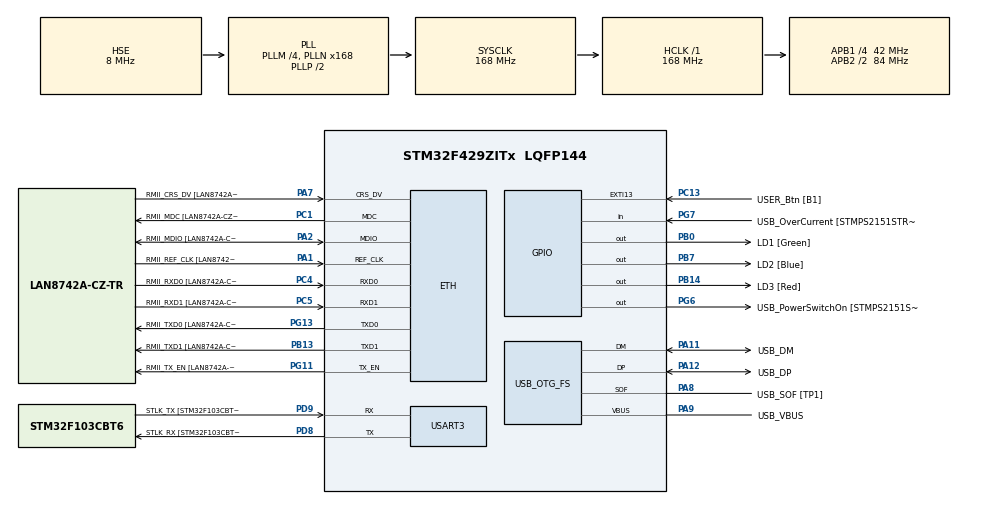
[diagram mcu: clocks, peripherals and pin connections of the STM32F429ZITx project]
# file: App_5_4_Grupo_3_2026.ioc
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ETH.MediaInterface=HAL_ETH_RMII_MODE
ETH.PHY_Name=LAN8742A_PHY_ADDRESS
ETH.PHY_Value=0
ETH.PhyAddress=0
Mcu.Family=STM32F4
Mcu.Name=STM32F429ZITx
Mcu.Package=LQFP144
NVIC.PriorityGroup=NVIC_PRIORITYGROUP_4
PA1.GPIO_Label=RMII_REF_CLK [LAN8742A-CZ-TR_REFCLK0]
PA1.Mode=RMII
PA1.Signal=ETH_REF_CLK
PA10.GPIO_Label=USB_ID
PA10.Signal=USB_OTG_FS_ID
PA11.GPIO_Label=USB_DM
PA11.Mode=Device_Only
PA11.Signal=USB_OTG_FS_DM
PA12.GPIO_Label=USB_DP
PA12.Mode=Device_Only
PA12.Signal=USB_OTG_FS_DP
PA13.GPIO_Label=TMS
PA13.Mode=Serial_Wire
PA13.Signal=SYS_JTMS-SWDIO
PA14.GPIO_Label=TCK
PA14.Mode=Serial_Wire
PA14.Signal=SYS_JTCK-SWCLK
PA2.GPIO_Label=RMII_MDIO [LAN8742A-CZ-TR_MDIO]
PA2.Mode=RMII
PA2.Signal=ETH_MDIO
PA7.GPIO_Label=RMII_CRS_DV [LAN8742A-CZ-TR_CRS_DV]
PA7.Mode=RMII
PA7.Signal=ETH_CRS_DV
PA8.GPIO_Label=USB_SOF [TP1]
PA8.Mode=Activate_SOF_FS
PA8.Signal=USB_OTG_FS_SOF
PA9.GPIO_Label=USB_VBUS
PA9.Mode=Activate_VBUS
PA9.Signal=USB_OTG_FS_VBUS
PB0.GPIO_Label=LD1 [Green]
PB0.Signal=GPIO_Output
PB13.GPIO_Label=RMII_TXD1 [LAN8742A-CZ-TR_TXD1]
PB13.Mode=RMII
PB13.Signal=ETH_TXD1
PB14.GPIO_Label=LD3 [Red]
PB14.Signal=GPIO_Output
PB7.GPIO_Label=LD2 [Blue]
PB7.Signal=GPIO_Output
PC1.GPIO_Label=RMII_MDC [LAN8742A-CZ-TR_MDC]
PC1.Mode=RMII
PC1.Signal=ETH_MDC
PC13.GPIO_Label=USER_Btn [B1]
PC13.Signal=GPXTI13
PC14/OSC32_IN.Mode=LSE-External-Oscillator
PC14/OSC32_IN.Signal=RCC_OSC32_IN
PC15/OSC32_OUT.Mode=LSE-External-Oscillator
PC15/OSC32_OUT.Signal=RCC_OSC32_OUT
PC4.GPIO_Label=RMII_RXD0 [LAN8742A-CZ-TR_RXD0]
PC4.Mode=RMII
PC4.Signal=ETH_RXD0
PC5.GPIO_Label=RMII_RXD1 [LAN8742A-CZ-TR_RXD1]
PC5.Mode=RMII
PC5.Signal=ETH_RXD1
PD8.GPIO_Label=STLK_RX [STM32F103CBT6_PA3]
PD8.Mode=Asynchronous
PD8.Signal=USART3_TX
PD9.GPIO_Label=STLK_TX [STM32F103CBT6_PA2]
PD9.Mode=Asynchronous
PD9.Signal=USART3_RX
PG11.GPIO_Label=RMII_TX_EN [LAN8742A-CZ-TR_TXEN]
PG11.Mode=RMII
PG11.Signal=ETH_TX_EN
PG13.GPIO_Label=RMII_TXD0 [LAN8742A-CZ-TR_TXD0]
PG13.Mode=RMII
PG13.Signal=ETH_TXD0
PG6.GPIO_Label=USB_PowerSwitchOn [STMPS2151STR_EN]
PG6.Signal=GPIO_Output
PG7.GPIO_Label=USB_OverCurrent [STMPS2151STR_FAULT]
PG7.Signal=GPIO_Input
PH0/OSC_IN.GPIO_Label=MCO [STM32F103CBT6_PA8]
PH0/OSC_IN.Mode=HSE-External-Clock-Source
PH0/OSC_IN.Signal=RCC_OSC_IN
PH1/OSC_OUT.Mode=HSE-External-Clock-Source
PH1/OSC_OUT.Signal=RCC_OSC_OUT
ProjectManager.HeapSize=0x200
ProjectManager.StackSize=0x400
ProjectManager.TargetToolchain=STM32CubeIDE
RCC.48MHZClocksFreq_Value=48000000
RCC.AHBFreq_Value=168000000
RCC.APB1CLKDivider=RCC_HCLK_DIV4
RCC.APB1Freq_Value=42000000
RCC.APB1TimFreq_Value=84000000
RCC.APB2CLKDivider=RCC_HCLK_DIV2
RCC.APB2Freq_Value=84000000
RCC.APB2TimCLKDivider=2
RCC.APB2TimFreq_Value=168000000
RCC.CortexFreq_Value=168000000
RCC.HCLKFreq_Value=168000000
RCC.HSE_VALUE=8000000
RCC.HSI_VALUE=16000000
RCC.PLLM=4
RCC.PLLMUL=RCC_PLL_MUL9
RCC.PLLN=168
RCC.PLLQ=7
RCC.PRESCALERUSB=RCC_USBCLKSOURCE_PLL_DIV1_5
RCC.SYSCLKFreq_VALUE=168000000
RCC.SYSCLKSource=RCC_SYSCLKSOURCE_PLLCLK
RCC.SYSCLKSourceVirtual=RCC_SYSCLKSOURCE_PLLCLK
RCC.USBFreq_Value=48000000
RCC.VCOOutputFreq_Value=336000000
USART3.VirtualMode=VM_ASYNC
USB_OTG_FS.VirtualMode=Device_Only
board=NUCLEO-F429ZI

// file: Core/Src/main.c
/* USER CODE BEGIN Header */
/**
  ******************************************************************************
  * @file           : main.c
  * @brief          : Main program body
  ******************************************************************************
  * App_5_4_Grupo_3_2026 - AFP5 - Antirrebote por MEF (API_debounce)
  *
  * Aplicacion (refactor de App_4_4 con driver de antirrebote): los tres leds
  * onboard parpadean simultaneamente. El pulsador de usuario cambia la
  * frecuencia de parpadeo de manera secuencial entre cuatro tiempos de
  * alternancia: 100 ms -> 250 ms -> 500 ms -> 1000 ms -> vuelve a 100 ms.
  * El cambio se produce por pulsacion validada por la maquina de estados de
  * API_debounce (40 ms de antirrebote) y modifica la duracion del retardo con
  * delayWrite() sin reiniciar el driver.
  * Se usan los tres drivers apilados: API_debounce -> API_delay -> API_GPIO.
  ******************************************************************************
  * @attention
  *
  * Copyright (c) 2026 STMicroelectronics.
  * All rights reserved.
  *
  * This software is licensed under terms that can be found in the LICENSE file
  * in the root directory of this software component.
  * If no LICENSE file comes with this software, it is provided AS-IS.
  *
  ******************************************************************************
  */
/* USER CODE END Header */
#include "main.h"
#include "string.h"
#include "API_GPIO.h"
#include "API_delay.h"
#include "API_debounce.h"

/* USER CODE BEGIN PD */
#define LED_COUNT		3		/* Cantidad de leds del vector */
#define TIEMPO_COUNT	4		/* Cantidad de tiempos de alternancia predefinidos */
/* USER CODE END PD */

ETH_TxPacketConfig TxConfig;
ETH_DMADescTypeDef  DMARxDscrTab[ETH_RX_DESC_CNT]; /* Ethernet Rx DMA Descriptors */
ETH_DMADescTypeDef  DMATxDscrTab[ETH_TX_DESC_CNT]; /* Ethernet Tx DMA Descriptors */

ETH_HandleTypeDef heth;

UART_HandleTypeDef huart3;

PCD_HandleTypeDef hpcd_USB_OTG_FS;

/* USER CODE BEGIN PV */
/* Vector de leds de la placa: con este formato la app queda general y puede
 * extenderse a mas leds con minimas modificaciones (solo agregar elementos) */
led_t leds[LED_COUNT] = {
	{LD1_GPIO_Port, LD1_Pin},
	{LD2_GPIO_Port, LD2_Pin},
	{LD3_GPIO_Port, LD3_Pin}
};

const button_t userButton = {USER_Btn_GPIO_Port, USER_Btn_Pin};

/* Tiempos de alternancia predefinidos [ms]: la aplicacion inicia en tiempo 1 */
const tick_t tiempos[TIEMPO_COUNT] = {100, 250, 500, 1000};

delay_t delayParpadeo;		/* Retardo no bloqueante del parpadeo */
uint8_t idxTiempo = 0;		/* Indice del tiempo de alternancia activo */
/* USER CODE END PV */

void SystemClock_Config(void);
/* El prototipo de MX_GPIO_Init() paso al driver: ver API_GPIO.h */
static void MX_ETH_Init(void);
static void MX_USART3_UART_Init(void);
static void MX_USB_OTG_FS_PCD_Init(void);

int main(void)
{

  /* MCU Configuration--------------------------------------------------------*/

  /* Reset of all peripherals, Initializes the Flash interface and the Systick. */
  HAL_Init();

  /* Configure the system clock */
  SystemClock_Config();

  /* Initialize all configured peripherals */
  MX_GPIO_Init();
  MX_ETH_Init();
  MX_USART3_UART_Init();
  MX_USB_OTG_FS_PCD_Init();
  /* USER CODE BEGIN 2 */
  delayInit(&delayParpadeo, tiempos[0]);
  debounceFSM_init();
  /* USER CODE END 2 */

  /* Infinite loop */
  /* USER CODE BEGIN WHILE */
  while (1)
  {
	  /* La MEF filtra el rebote y dispara buttonPressed() en cada pulsacion */
	  debounceFSM_update(readButton_GPIO(userButton));

	  /* Cuando el retardo se cumple, los 3 leds cambian de estado juntos */
	  if (delayRead(&delayParpadeo))
	  {
		  for (uint8_t i = 0; i < LED_COUNT; i++)
		  {
			  toggleLed_GPIO(leds[i]);
		  }
	  }
    /* USER CODE END WHILE */

  }
}

void SystemClock_Config(void)
{
  RCC_OscInitTypeDef RCC_OscInitStruct = {0};
  RCC_ClkInitTypeDef RCC_ClkInitStruct = {0};

  /** Configure the main internal regulator output voltage
  */
  __HAL_RCC_PWR_CLK_ENABLE();
  __HAL_PWR_VOLTAGESCALING_CONFIG(PWR_REGULATOR_VOLTAGE_SCALE1);

  /** Initializes the RCC Oscillators according to the specified parameters
  * in the RCC_OscInitTypeDef structure.
  */
  RCC_OscInitStruct.OscillatorType = RCC_OSCILLATORTYPE_HSE;
  RCC_OscInitStruct.HSEState = RCC_HSE_BYPASS;
  RCC_OscInitStruct.PLL.PLLState = RCC_PLL_ON;
  RCC_OscInitStruct.PLL.PLLSource = RCC_PLLSOURCE_HSE;
  RCC_OscInitStruct.PLL.PLLM = 4;
  RCC_OscInitStruct.PLL.PLLN = 168;
  RCC_OscInitStruct.PLL.PLLP = RCC_PLLP_DIV2;
  RCC_OscInitStruct.PLL.PLLQ = 7;
  if (HAL_RCC_OscConfig(&RCC_OscInitStruct) != HAL_OK)
  {
    Error_Handler();
  }

  /** Initializes the CPU, AHB and APB buses clocks
  */
  RCC_ClkInitStruct.ClockType = RCC_CLOCKTYPE_HCLK|RCC_CLOCKTYPE_SYSCLK
                              |RCC_CLOCKTYPE_PCLK1|RCC_CLOCKTYPE_PCLK2;
  RCC_ClkInitStruct.SYSCLKSource = RCC_SYSCLKSOURCE_PLLCLK;
  RCC_ClkInitStruct.AHBCLKDivider = RCC_SYSCLK_DIV1;
  RCC_ClkInitStruct.APB1CLKDivider = RCC_HCLK_DIV4;
  RCC_ClkInitStruct.APB2CLKDivider = RCC_HCLK_DIV2;

  if (HAL_RCC_ClockConfig(&RCC_ClkInitStruct, FLASH_LATENCY_5) != HAL_OK)
  {
    Error_Handler();
  }
}

static void MX_ETH_Init(void)
{

   static uint8_t MACAddr[6];

  heth.Instance = ETH;
  MACAddr[0] = 0x00;
  MACAddr[1] = 0x80;
  MACAddr[2] = 0xE1;
  MACAddr[3] = 0x00;
  MACAddr[4] = 0x00;
  MACAddr[5] = 0x00;
  heth.Init.MACAddr = &MACAddr[0];
  heth.Init.MediaInterface = HAL_ETH_RMII_MODE;
  heth.Init.TxDesc = DMATxDscrTab;
  heth.Init.RxDesc = DMARxDscrTab;
  heth.Init.RxBuffLen = 1524;

  if (HAL_ETH_Init(&heth) != HAL_OK)
  {
    Error_Handler();
  }

  memset(&TxConfig, 0 , sizeof(ETH_TxPacketConfig));
  TxConfig.Attributes = ETH_TX_PACKETS_FEATURES_CSUM | ETH_TX_PACKETS_FEATURES_CRCPAD;
  TxConfig.ChecksumCtrl = ETH_CHECKSUM_IPHDR_PAYLOAD_INSERT_PHDR_CALC;
  TxConfig.CRCPadCtrl = ETH_CRC_PAD_INSERT;

}

static void MX_USART3_UART_Init(void)
{

  huart3.Instance = USART3;
  huart3.Init.BaudRate = 115200;
  huart3.Init.WordLength = UART_WORDLENGTH_8B;
  huart3.Init.StopBits = UART_STOPBITS_1;
  huart3.Init.Parity = UART_PARITY_NONE;
  huart3.Init.Mode = UART_MODE_TX_RX;
  huart3.Init.HwFlowCtl = UART_HWCONTROL_NONE;
  huart3.Init.OverSampling = UART_OVERSAMPLING_16;
  if (HAL_UART_Init(&huart3) != HAL_OK)
  {
    Error_Handler();
  }

}

static void MX_USB_OTG_FS_PCD_Init(void)
{

  hpcd_USB_OTG_FS.Instance = USB_OTG_FS;
  hpcd_USB_OTG_FS.Init.dev_endpoints = 4;
  hpcd_USB_OTG_FS.Init.speed = PCD_SPEED_FULL;
  hpcd_USB_OTG_FS.Init.dma_enable = DISABLE;
  hpcd_USB_OTG_FS.Init.phy_itface = PCD_PHY_EMBEDDED;
  hpcd_USB_OTG_FS.Init.Sof_enable = ENABLE;
  hpcd_USB_OTG_FS.Init.low_power_enable = DISABLE;
  hpcd_USB_OTG_FS.Init.lpm_enable = DISABLE;
  hpcd_USB_OTG_FS.Init.vbus_sensing_enable = ENABLE;
  hpcd_USB_OTG_FS.Init.use_dedicated_ep1 = DISABLE;
  if (HAL_PCD_Init(&hpcd_USB_OTG_FS) != HAL_OK)
  {
    Error_Handler();
  }

}

/* USER CODE BEGIN 4 */
/**
  * @brief Accion de pulsacion validada por la MEF: avanza al siguiente tiempo
  *        de alternancia predefinido y lo aplica con delayWrite().
  *        Implementada por la aplicacion.
  * @retval None
  */
void buttonPressed(void)
{
	idxTiempo = (idxTiempo + 1) % TIEMPO_COUNT;
	delayWrite(&delayParpadeo, tiempos[idxTiempo]);
}

/**
  * @brief Accion de liberacion validada por la MEF: sin accion en esta app.
  * @retval None
  */
void buttonReleased(void)
{
	/* Sin accion asociada en esta aplicacion */
}
/* USER CODE END 4 */

void Error_Handler(void)
{
  __disable_irq();
  while (1)
  {
  }
}
